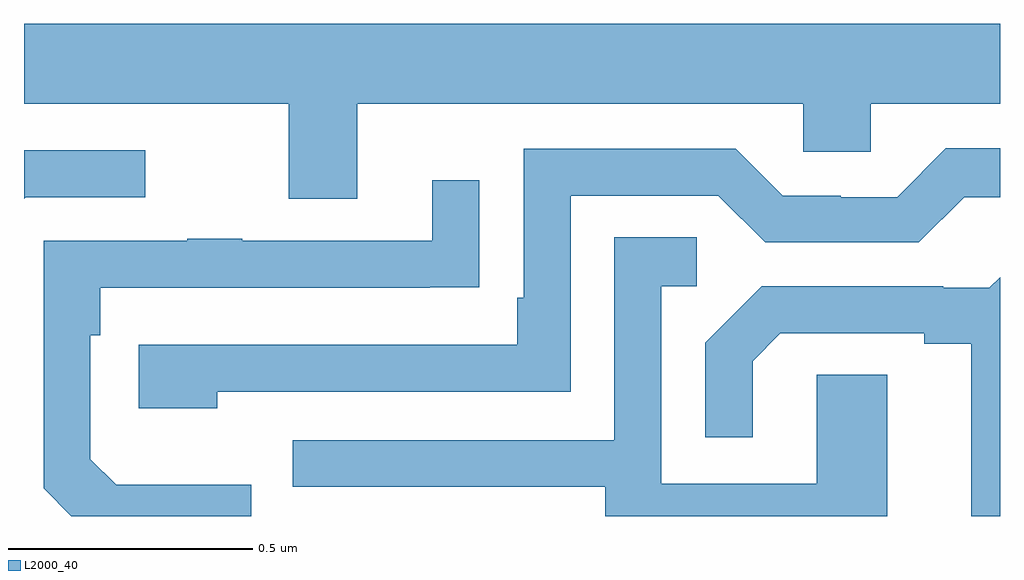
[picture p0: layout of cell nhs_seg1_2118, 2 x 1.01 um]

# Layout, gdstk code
import gdstk
lib = gdstk.Library(unit=1e-6, precision=1e-09)
def P(c, l, *ps):  # polygons
    for p in ps: c.add(gdstk.Polygon(p, *l))
L2000_40 = (2000, 40)

nhs_seg1_2118 = lib.new_cell('nhs_seg1_2118')
P(nhs_seg1_2118, L2000_40, [(137.683,573.044),(138.597,573.044),(138.597,572.946),(138.735,572.946),(138.735,573.044),(139,573.044),(139,573.208),(137,573.208),(137,573.044),(137.543,573.044),(137.543,572.85),(137.683,572.85)],
  [(137.396,572.454),(138.12,572.454),(138.12,572.856),(138.423,572.856),(138.519,572.76),(138.834,572.76),(138.927,572.853),(139,572.853),(139,572.953),(138.889,572.953),(138.789,572.853),(138.674,572.853),(138.674,572.856),(138.555,572.856),(138.459,572.952),(138.024,572.952),(138.024,572.647),(138.011,572.647),(138.011,572.55),(137.235,572.55),(137.235,572.42),(137.396,572.42)],
  [(137.004,572.853),(137.248,572.853),(137.248,572.949),(137,572.949),(137,572.849)],
  [(137.466,572.263),(137.189,572.263),(137.136,572.316),(137.136,572.57),(137.156,572.57),(137.156,572.667),(137.831,572.667),(137.831,572.668),(137.933,572.668),(137.933,572.887),(137.837,572.887),(137.837,572.763),(137.447,572.763),(137.447,572.768),(137.335,572.768),(137.335,572.763),(137.04,572.763),(137.04,572.256),(137.097,572.199),(137.466,572.199)],
  [(138.769,572.489),(138.624,572.489),(138.624,572.265),(138.306,572.265),(138.306,572.67),(138.379,572.67),(138.379,572.771),(138.21,572.771),(138.21,572.355),(137.551,572.355),(137.551,572.259),(138.191,572.259),(138.191,572.199),(138.769,572.199)],
  [(139,572.689),(138.978,572.667),(138.884,572.667),(138.884,572.67),(138.512,572.67),(138.396,572.554),(138.396,572.361),(138.493,572.361),(138.493,572.517),(138.55,572.574),(138.845,572.574),(138.845,572.552),(138.941,572.552),(138.941,572.199),(139,572.199)])

lib.write_gds('nhs_seg1_2118.gds')
